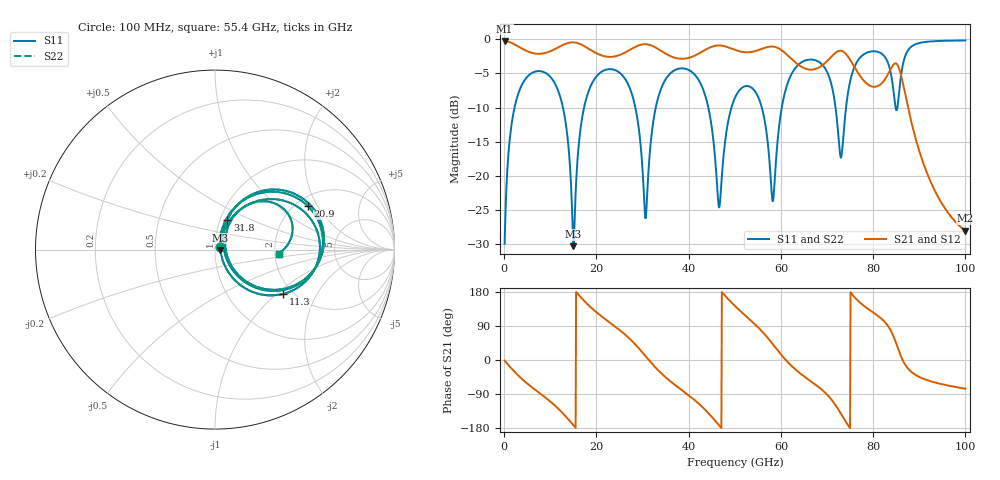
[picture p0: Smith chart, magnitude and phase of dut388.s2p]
! Touchstone file exported from HFSS 2026.1.0
!  File:  C:/ffzhzh/LocalFiles/Ansys_Project_Files/temp_train_TSV_RDL_388_1783717695_45164.aedt
!  Generated:  05:17:39 AM Jul 11, 2026
!  Design:  TSV_RDL
!  Project:  temp_train_TSV_RDL_388_1783717695_45164
! Variables:
!  h_bsmrdl = 4.96um
!  h_ox = 20um
!  h_rdl = 5um
!  h_sub = 98.41um
!  h_tmrdl = 2.66um
!  h_tsv = 98.41um
!  h_via = 3um
!  l_bsmrdl = 573.75um
!  l_sub = 3460.68um
!  l_tmrdl = 318.11um
!  m_sub = 200um
!  pitch = 47.32um
!  r_tsv = 10.2um
!  s_tmrdl = 10um
!  w_bsmrdl = 12.05um
!  w_sub = 500um
!  w_tmrdl = 10.28um
!  x_tsv_center1 = 323.25um
!  x_tsv_center2 = 909.05um
!  x_tsv_center3 = 1237.44um
!  x_tsv_center4 = 1823.24um
!  x_tsv_center5 = 2151.63um
!  x_tsv_center6 = 2737.43um
# GHz S MA R 50.000000
! Terminal data exported
! Port[1] = TM_RDL1_1_T1
! Port[2] = TM_RDL5_1_T1
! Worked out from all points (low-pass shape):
!   1000 points, 100 MHz to 100 GHz, reference 50 ohm
!   highest |S21| = -0.24 dB at 100 MHz (marker M1); lowest = -28.0 dB at 100 GHz (marker M2)
!   |S21| within 3 dB of the highest: start of sweep to 62.88 GHz; 69.94 GHz to 75.23 GHz (5.285 GHz wide, 7.28 % of centre)
!   lowest |S11| = -30.3 dB at 15 GHz (marker M3), VSWR 1.06, Z = 53.1 - j0.296 ohm
!   |S11| at or under -10 dB: 12.74 GHz to 17.33 GHz (4.583 GHz wide, 30.5 % of centre); 28.45 GHz to 32.87 GHz (4.422 GHz wide, 14.4 % of centre); 44.26 GHz to 49.28 GHz (5.012 GHz wide, 10.7 % of centre) (the widest 3 of 7)
!   |S22| runs from -30.6 to -0.2 dB; largest |S21 - S12| = 1.9e-14
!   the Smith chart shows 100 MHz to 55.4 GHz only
!   S11 on the Smith chart (normalised r, x): 100 MHz: 1.06, +0.03; 11.3 GHz: 1.78, -1.11; 20.9 GHz: 2.32, +1.66; 31.8 GHz: 1.08, +0.37; 55.4 GHz: 2.09, -0.11
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0.1  0.03188 28.9  0.9724 -1.5  0.9724 -1.5  0.03188 28.9
! Gamma 0 0 0 0
! Port Impedance 50 0 50 0
3.3  0.4207 42.0  0.8757 -43.8  0.8757 -43.8  0.4207 42.0
11.3  0.4529 -33.0  0.8573 -123.5  0.8573 -123.5  0.4529 -33.1
15  0.03061 -5.2  0.9485 -171.9  0.9485 -171.9  0.02936 -5.8
16.8  0.2524 65.2  0.9116 163.2  0.9116 163.2  0.2522 65.5
20.9  0.5715 24.9  0.766 117.2  0.766 117.2  0.5715 25.1
27.5  0.4158 -33.6  0.845 52.8  0.845 52.8  0.4159 -33.5
30.6  0.04942 -0.6  0.9203 11.0  0.9203 11.0  0.05038 -0.5
31.8  0.1784 67.5  0.9034 -6.1  0.9034 -6.1  0.1786 67.3
33.4  0.3753 55.7  0.8476 -27.2  0.8476 -27.2  0.3753 55.6
42.7  0.4657 -26.8  0.8033 -120.8  0.8033 -120.8  0.4657 -26.7
46.6  0.05877 6.0  0.9011 -172.4  0.9011 -172.4  0.05938 6.0
50.1  0.3767 45.7  0.8344 141.7  0.8344 141.7  0.3768 45.5
55.4  0.355 -3.6  0.8393 82.0  0.8393 82.0  0.3549 -3.8
58.3  0.06557 46.0  0.8839 41.0  0.8839 41.0  0.06383 46.1
61.2  0.4474 79.5  0.7768 -1.8  0.7768 -1.8  0.4471 79.6
66.7  0.7104 32.0  0.5991 -57.9  0.5991 -57.9  0.7103 32.0
71.5  0.38 -7.1  0.7781 -113.1  0.7781 -113.1  0.3797 -7.3
74.1  0.3117 80.2  0.7806 -163.5  0.7806 -163.5  0.3107 80.5
83.4  0.6446 10.3  0.5692 86.6  0.5692 86.6  0.645 10.6
87.5  0.8242 51.4  0.325 -21.6  0.325 -21.6  0.8248 51.3
100  0.9798 11.7  0.03968 -75.7  0.03968 -75.7  0.9798 11.6
